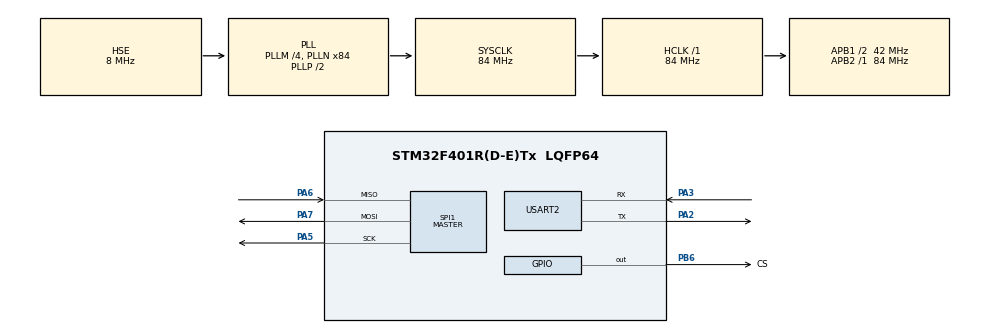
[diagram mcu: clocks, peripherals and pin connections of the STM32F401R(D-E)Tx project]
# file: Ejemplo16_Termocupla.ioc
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Mcu.Family=STM32F4
Mcu.Name=STM32F401R(D-E)Tx
Mcu.Package=LQFP64
NVIC.PriorityGroup=NVIC_PRIORITYGROUP_4
PA13.Mode=Serial_Wire
PA13.Signal=SYS_JTMS-SWDIO
PA14.Mode=Serial_Wire
PA14.Signal=SYS_JTCK-SWCLK
PA2.Mode=Asynchronous
PA2.Signal=USART2_TX
PA3.Mode=Asynchronous
PA3.Signal=USART2_RX
PA5.Mode=Full_Duplex_Master
PA5.Signal=SPI1_SCK
PA6.Mode=Full_Duplex_Master
PA6.Signal=SPI1_MISO
PA7.Mode=Full_Duplex_Master
PA7.Signal=SPI1_MOSI
PB6.GPIO_Label=CS
PB6.PinState=GPIO_PIN_SET
PB6.Signal=GPIO_Output
PH0\ -\ OSC_IN.Mode=HSE-External-Clock-Source
PH0\ -\ OSC_IN.Signal=RCC_OSC_IN
PH1\ -\ OSC_OUT.Mode=HSE-External-Clock-Source
PH1\ -\ OSC_OUT.Signal=RCC_OSC_OUT
ProjectManager.HeapSize=0x200
ProjectManager.StackSize=0x400
ProjectManager.TargetToolchain=STM32CubeIDE
RCC.48MHZClocksFreq_Value=42000000
RCC.AHBFreq_Value=84000000
RCC.APB1CLKDivider=RCC_HCLK_DIV2
RCC.APB1Freq_Value=42000000
RCC.APB1TimFreq_Value=84000000
RCC.APB2Freq_Value=84000000
RCC.APB2TimFreq_Value=84000000
RCC.CortexFreq_Value=84000000
RCC.HCLKFreq_Value=84000000
RCC.HSE_VALUE=8000000
RCC.HSI_VALUE=16000000
RCC.LSE_VALUE=32768
RCC.PLLM=4
RCC.PLLN=84
RCC.PLLSourceVirtual=RCC_PLLSOURCE_HSE
RCC.SYSCLKFreq_VALUE=84000000
RCC.SYSCLKSource=RCC_SYSCLKSOURCE_PLLCLK
RCC.VCOOutputFreq_Value=168000000
SPI1.BaudRatePrescaler=SPI_BAUDRATEPRESCALER_16
SPI1.Direction=SPI_DIRECTION_2LINES
SPI1.Mode=SPI_MODE_MASTER
SPI1.VirtualType=VM_MASTER
USART2.VirtualMode=VM_ASYNC
board=custom

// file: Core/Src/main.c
/* USER CODE BEGIN Header */
/**
  ******************************************************************************
  * @file           : main.c
  * @brief          : Main program body
  ******************************************************************************
  * @attention
  *
  * Copyright (c) 2023 STMicroelectronics.
  * All rights reserved.
  *
  * This software is licensed under terms that can be found in the LICENSE file
  * in the root directory of this software component.
  * If no LICENSE file comes with this software, it is provided AS-IS.
  *
  ******************************************************************************
  */
/* USER CODE END Header */
#include "main.h"
#include "spi.h"
#include "usart.h"
#include "gpio.h"

/* USER CODE BEGIN Includes */
#include "string.h"
#include "stdio.h"
/* USER CODE END Includes */

void SystemClock_Config(void);

/* USER CODE BEGIN 0 */
int __io_putchar(int ch){

	  HAL_UART_Transmit(&huart2, (const uint8_t *)&ch, (uint16_t)1, HAL_MAX_DELAY);

	  return ch;
}

uint8_t tramaH,tramaL;
uint8_t buffer[2];
uint16_t Trama;
float temperatura;
/* USER CODE END 0 */

int main(void)
{

  /* MCU Configuration--------------------------------------------------------*/

  /* Reset of all peripherals, Initializes the Flash interface and the Systick. */
  HAL_Init();

  /* Configure the system clock */
  SystemClock_Config();

  /* Initialize all configured peripherals */
  MX_GPIO_Init();
  MX_SPI1_Init();
  MX_USART2_UART_Init();

  /* Infinite loop */
  /* USER CODE BEGIN WHILE */
  while (1)
  {

	  //Iniciamos la comunicacion
	  HAL_GPIO_WritePin(CS_GPIO_Port, CS_Pin, 0);
	  HAL_SPI_Receive(&hspi1, buffer, 2, 10);
	  tramaH = buffer[0];
	  tramaL =  buffer[1];
	  Trama = (tramaH<<8)+tramaL;
	  //Quiero q termine
	  HAL_GPIO_WritePin(CS_GPIO_Port, CS_Pin, 1);

	  if (Trama & 0x04) {
		printf("Desconectado\n\r");
	}

	  Trama >>=3;
	   temperatura = Trama*0.25;
	   printf("Temperatura : %0.3f",temperatura);
		  HAL_Delay(500);
    /* USER CODE END WHILE */

  }
}

void SystemClock_Config(void)
{
  RCC_OscInitTypeDef RCC_OscInitStruct = {0};
  RCC_ClkInitTypeDef RCC_ClkInitStruct = {0};

  /** Configure the main internal regulator output voltage
  */
  __HAL_RCC_PWR_CLK_ENABLE();
  __HAL_PWR_VOLTAGESCALING_CONFIG(PWR_REGULATOR_VOLTAGE_SCALE2);

  /** Initializes the RCC Oscillators according to the specified parameters
  * in the RCC_OscInitTypeDef structure.
  */
  RCC_OscInitStruct.OscillatorType = RCC_OSCILLATORTYPE_HSE;
  RCC_OscInitStruct.HSEState = RCC_HSE_BYPASS;
  RCC_OscInitStruct.PLL.PLLState = RCC_PLL_ON;
  RCC_OscInitStruct.PLL.PLLSource = RCC_PLLSOURCE_HSE;
  RCC_OscInitStruct.PLL.PLLM = 4;
  RCC_OscInitStruct.PLL.PLLN = 84;
  RCC_OscInitStruct.PLL.PLLP = RCC_PLLP_DIV2;
  RCC_OscInitStruct.PLL.PLLQ = 4;
  if (HAL_RCC_OscConfig(&RCC_OscInitStruct) != HAL_OK)
  {
    Error_Handler();
  }

  /** Initializes the CPU, AHB and APB buses clocks
  */
  RCC_ClkInitStruct.ClockType = RCC_CLOCKTYPE_HCLK|RCC_CLOCKTYPE_SYSCLK
                              |RCC_CLOCKTYPE_PCLK1|RCC_CLOCKTYPE_PCLK2;
  RCC_ClkInitStruct.SYSCLKSource = RCC_SYSCLKSOURCE_PLLCLK;
  RCC_ClkInitStruct.AHBCLKDivider = RCC_SYSCLK_DIV1;
  RCC_ClkInitStruct.APB1CLKDivider = RCC_HCLK_DIV2;
  RCC_ClkInitStruct.APB2CLKDivider = RCC_HCLK_DIV1;

  if (HAL_RCC_ClockConfig(&RCC_ClkInitStruct, FLASH_LATENCY_2) != HAL_OK)
  {
    Error_Handler();
  }
}

void Error_Handler(void)
{
  __disable_irq();
  while (1)
  {
  }
}
